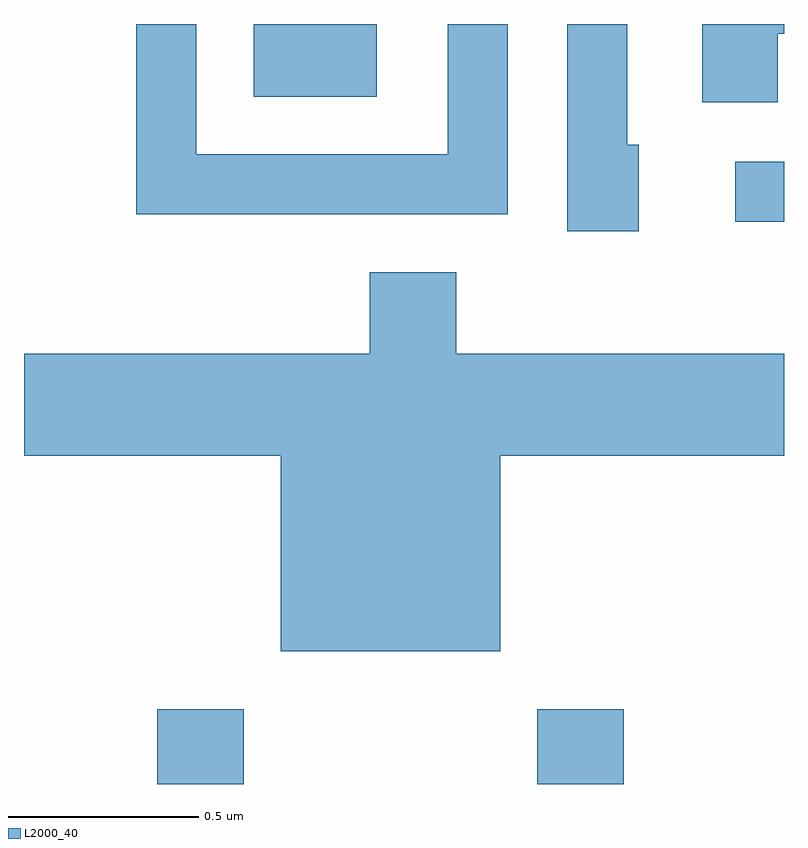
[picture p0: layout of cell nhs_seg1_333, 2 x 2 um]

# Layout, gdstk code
import gdstk
lib = gdstk.Library(unit=1e-6, precision=1e-09)
def R(c, l, rs):  # rectangles x0, y0, x1, y1
    for r in rs: c.add(gdstk.rectangle(r[:2], r[2:], *l))
def P(c, l, *ps):  # polygons
    for p in ps: c.add(gdstk.Polygon(p, *l))
L2000_40 = (2000, 40)

nhs_seg1_333 = lib.new_cell('nhs_seg1_333')
R(nhs_seg1_333, L2000_40, [(187.961,898.712,188.189,898.909), (188.961,898.712,189.189,898.909), (189.483,900.191,189.611,900.349), (188.216,900.521,188.539,900.712)])
P(nhs_seg1_333, L2000_40, [(189.229,900.394),(189.199,900.394),(189.199,900.712),(189.041,900.712),(189.041,900.166),(189.229,900.166)],
  [(189.594,900.686),(189.611,900.686),(189.611,900.712),(189.396,900.712),(189.396,900.506),(189.594,900.506)],
  [(188.884,900.712),(188.726,900.712),(188.726,900.369),(188.064,900.369),(188.064,900.712),(187.906,900.712),(187.906,900.211),(188.884,900.211)],
  [(188.864,899.576),(189.611,899.576),(189.611,899.844),(188.749,899.844),(188.749,900.059),(188.521,900.059),(188.521,899.844),(187.611,899.844),(187.611,899.576),(188.286,899.576),(188.286,899.061),(188.864,899.061)])

lib.write_gds('nhs_seg1_333.gds')
